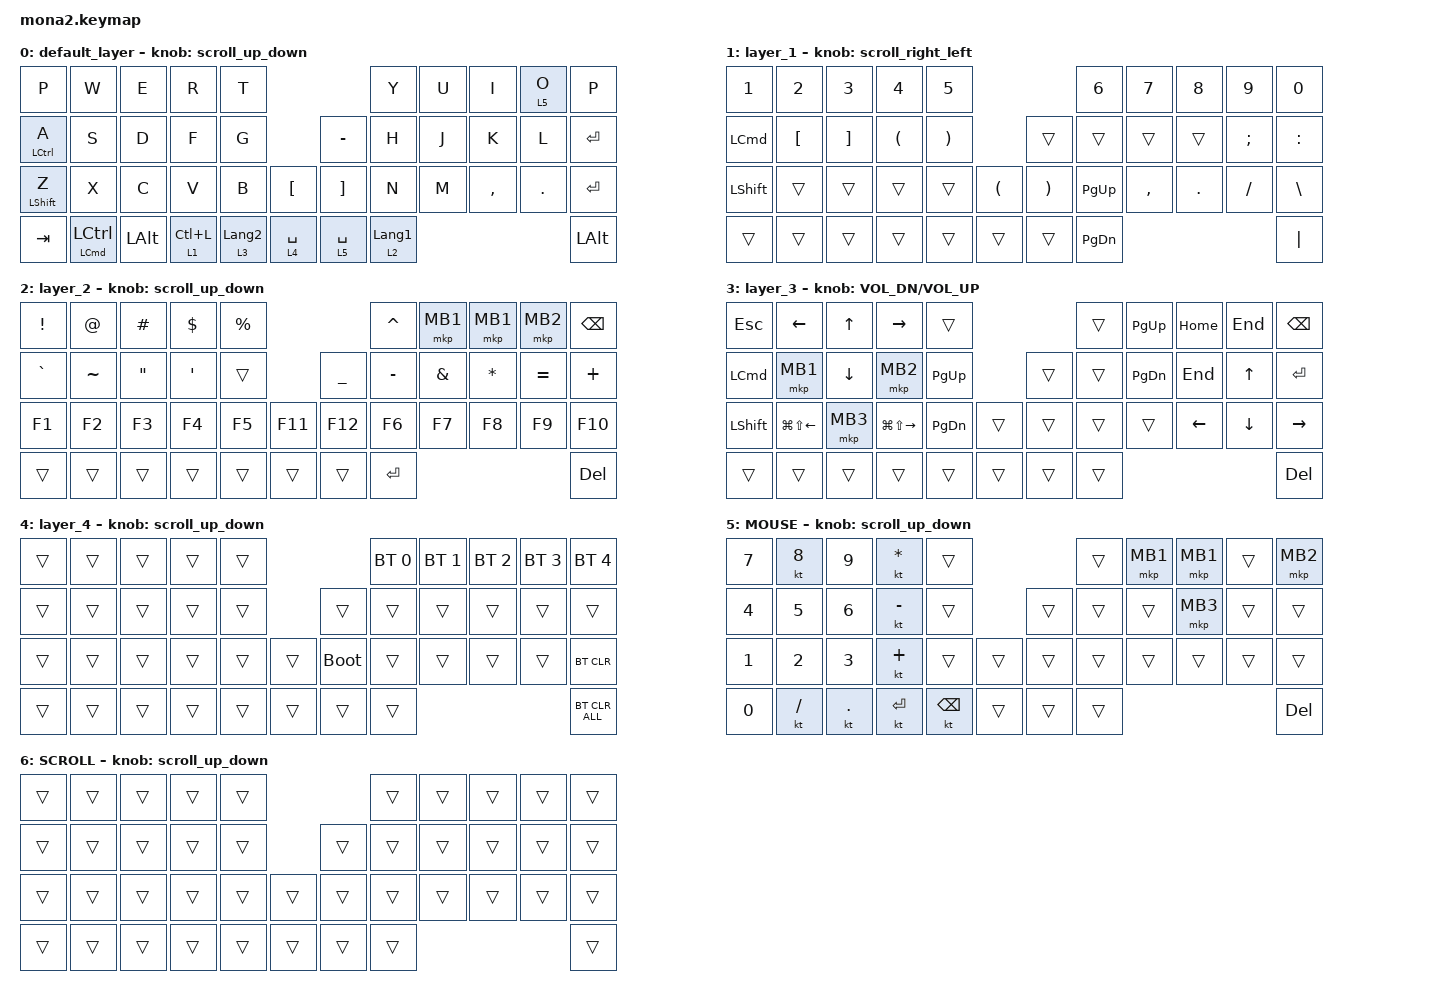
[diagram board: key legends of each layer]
#include <input/processors.dtsi>
#include <dt-bindings/zmk/input_transform.h>
#include <zephyr/dt-bindings/input/input-event-codes.h>
#include <behaviors.dtsi>
#include <dt-bindings/zmk/bt.h>
#include <dt-bindings/zmk/keys.h>
#include <dt-bindings/zmk/pointing.h>

#define ZMK_POINTING_DEFAULT_SCRL_VAL 100
#define MOUSE 5
#define SCROLL 6

&mt {
    flavor = "balanced";
    quick-tap-ms = <0>;
};

&lt {
    quick-tap-ms = <300>;
    flavor = "balanced";
};

/ {
    combos {
        compatible = "zmk,combos";

        layer4_ESC {
            bindings = <&lt 4 ESC>;
            key-positions = <39 38>;
        };

        tab {
            bindings = <&kp TAB>;
            key-positions = <11 12>;
        };

        shift_tab {
            bindings = <&kp LS(TAB)>;
            key-positions = <12 13>;
        };

        double_quotation {
            bindings = <&kp DOUBLE_QUOTES>;
            key-positions = <18 19>;
        };

        eq {
            bindings = <&kp EQUAL>;
            key-positions = <8 9>;
        };

        single_quote {
            bindings = <&kp SINGLE_QUOTE>;
            key-positions = <19 20>;
        };

        minus {
            bindings = <&kp MINUS>;
            key-positions = <7 8>;
        };

        screenshot {
            bindings = <&kp LS(LG(LA(KP_NUMBER_4)))>;
            key-positions = <9 20>;
        };
    };

    macros {
        to_layer_0: to_layer_0 {
            compatible = "zmk,behavior-macro-one-param";
            #binding-cells = <1>;
            bindings = <&to 0 &macro_param_1to1 &kp MACRO_PLACEHOLDER>;
            label = "TO_LAYER_0";
        };
    };

    behaviors {
        lt_to_layer_0: lt_to_layer_0 {
            compatible = "zmk,behavior-hold-tap";
            label = "LAYER_TAP_TO_0";
            bindings = <&mo>, <&to_layer_0>;

            #binding-cells = <2>;
            tapping-term-ms = <200>;
        };

        scroll_up_down: mouse_wheel_up_down {
            compatible = "zmk,behavior-sensor-rotate";
            #sensor-binding-cells = <0>;
            bindings = <&msc SCRL_DOWN>, <&msc SCRL_UP>;

            tap-ms = <20>;
        };

        scroll_right_left: mouse_wheel_right_left {
            compatible = "zmk,behavior-sensor-rotate";
            #sensor-binding-cells = <0>;
            bindings = <&msc SCRL_LEFT>, <&msc SCRL_RIGHT>;

            tap-ms = <20>;
        };
    };

    keymap {
        compatible = "zmk,keymap";

        default_layer {
            bindings = <
&kp P               &kp W                          &kp E         &kp R                   &kp T                                                    &kp Y             &kp U  &kp I      &lt 5 O  &kp P
&mt LEFT_CONTROL A  &kp S                          &kp D         &kp F                   &kp G                                 &kp MINUS          &kp H             &kp J  &kp K      &kp L    &kp ENTER
&mt LEFT_SHIFT Z    &kp X                          &kp C         &kp V                   &kp B             &kp LEFT_BRACKET    &kp RIGHT_BRACKET  &kp N             &kp M  &kp COMMA  &kp DOT  &kp ENTER
&kp TAB             &mt LEFT_COMMAND LEFT_CONTROL  &kp LEFT_ALT  &lt_to_layer_0 1 LC(L)  &lt 3 LANGUAGE_2  &lt 4 SPACE         &lt 5 SPACE        &lt 2 LANGUAGE_1                             &kp LEFT_ALT
            >;

            sensor-bindings = <&scroll_up_down>;
        };

        layer_1 {
            bindings = <
&kp NUMBER_1      &kp NUMBER_2      &kp NUMBER_3       &kp NUMBER_4          &kp NUMBER_5                                                          &kp NUMBER_6  &kp NUMBER_7  &kp NUMBER_8  &kp NUMBER_9   &kp NUMBER_0
&kp LEFT_COMMAND  &kp LEFT_BRACKET  &kp RIGHT_BRACKET  &kp LEFT_PARENTHESIS  &kp RIGHT_PARENTHESIS                          &trans                 &trans        &trans        &trans        &kp SEMICOLON  &kp COLON
&kp LEFT_SHIFT    &trans            &trans             &trans                &trans                 &kp LEFT_PARENTHESIS    &kp RIGHT_PARENTHESIS  &kp PG_UP     &kp COMMA     &kp PERIOD    &kp SLASH      &kp BACKSLASH
&trans            &trans            &trans             &trans                &trans                 &trans                  &trans                 &kp PG_DN                                                &kp PIPE
            >;

            sensor-bindings = <&scroll_right_left>;
        };

        layer_2 {
            bindings = <
&kp EXCLAMATION  &kp AT_SIGN  &kp POUND          &kp DOLLAR  &kp PERCENT                             &kp CARET  &mkp MB1       &mkp MB1      &mkp MB2   &kp BACKSPACE
&kp GRAVE        &kp TILDE    &kp DOUBLE_QUOTES  &kp SQT     &trans                  &kp UNDERSCORE  &kp MINUS  &kp AMPERSAND  &kp ASTERISK  &kp EQUAL  &kp PLUS
&kp F1           &kp F2       &kp F3             &kp F4      &kp F5       &kp F11    &kp F12         &kp F6     &kp F7         &kp F8        &kp F9     &kp F10
&trans           &trans       &trans             &trans      &trans       &trans     &trans          &kp ENTER                                          &kp DELETE
            >;

            sensor-bindings = <&scroll_up_down>;
        };

        layer_3 {
            bindings = <
&kp ESCAPE        &kp LEFT          &kp UP_ARROW  &kp RIGHT                &trans                       &trans  &kp PG_UP  &kp HOME  &kp END       &kp BACKSPACE
&kp LEFT_COMMAND  &mkp MB1          &kp DOWN      &mkp MB2                 &kp PG_UP            &trans  &trans  &kp PG_DN  &kp END   &kp UP_ARROW  &kp ENTER
&kp LEFT_SHIFT    &kp LG(LS(LEFT))  &mkp MB3      &kp LG(LS(RIGHT_ARROW))  &kp PG_DN  &trans    &trans  &trans  &trans     &kp LEFT  &kp DOWN      &kp RIGHT
&trans            &trans            &trans        &trans                   &trans     &trans    &trans  &trans                                     &kp DELETE
            >;

            sensor-bindings = <&inc_dec_kp C_VOL_DN C_VOL_UP>;
        };

        layer_4 {
            bindings = <
&trans  &trans  &trans  &trans  &trans                         &bt BT_SEL 0  &bt BT_SEL 1  &bt BT_SEL 2  &bt BT_SEL 3  &bt BT_SEL 4
&trans  &trans  &trans  &trans  &trans            &trans       &trans        &trans        &trans        &trans        &trans
&trans  &trans  &trans  &trans  &trans  &trans    &bootloader  &trans        &trans        &trans        &trans        &bt BT_CLR
&trans  &trans  &trans  &trans  &trans  &trans    &trans       &trans                                                  &bt BT_CLR_ALL
            >;

            sensor-bindings = <&scroll_up_down>;
        };

        MOUSE {
            bindings = <
&kp N7        &kt N8        &kp N9        &kt ASTERISK  &trans                           &trans  &mkp MB1  &mkp MB1  &trans  &mkp MB2
&kp NUMBER_4  &kp N5        &kp NUMBER_6  &kt MINUS     &trans                   &trans  &trans  &trans    &mkp MB3  &trans  &trans
&kp NUMBER_1  &kp NUMBER_2  &kp NUMBER_3  &kt PLUS      &trans         &trans    &trans  &trans  &trans    &trans    &trans  &trans
&kp N0        &kt SLASH     &kt PERIOD    &kt ENTER     &kt BACKSPACE  &trans    &trans  &trans                              &kp DELETE
            >;

            sensor-bindings = <&scroll_up_down>;
        };

        SCROLL {
            bindings = <
&trans  &trans  &trans  &trans  &trans                    &trans  &trans  &trans  &trans  &trans
&trans  &trans  &trans  &trans  &trans            &trans  &trans  &trans  &trans  &trans  &trans
&trans  &trans  &trans  &trans  &trans  &trans    &trans  &trans  &trans  &trans  &trans  &trans
&trans  &trans  &trans  &trans  &trans  &trans    &trans  &trans                          &trans
            >;

            sensor-bindings = <&scroll_up_down>;
        };
    };
};
